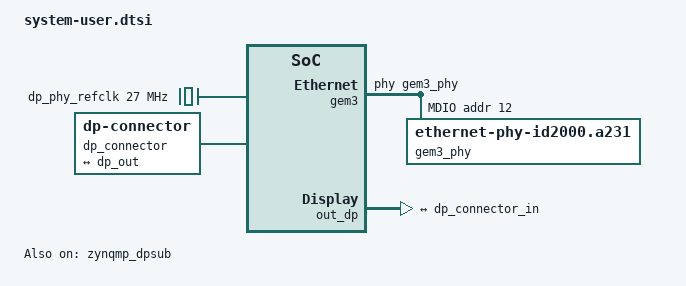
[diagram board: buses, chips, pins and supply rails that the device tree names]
// SPDX-License-Identifier: MIT
// Copyright (C) 2025-2026, Opsero Electronic Design Inc.  All rights reserved.

/*
 * Board fixups for the zcu106 host of the MIPI over Chip2Chip design, layered on
 * top of the gen-machineconf / lopper-generated Linux device tree (which already
 * carries the PS config and the PL hardware of the ZCU106 from the XSA). Scoped
 * to the Linux domain by device-tree.bbappend, and #included LAST, so every
 * property set here wins over the generated one.
 *
 * NOTE: the EDF device-tree recipe sets KERNEL_INCLUDE = "", so no
 * <dt-bindings/...> header is available here. Use numeric constants.
 *
 * What is NOT here, on purpose: the peripherals of the AUBoard 15P, reached
 * through the AXI Chip2Chip window at 0xA000_0000 - 0xA0FF_FFFF. They are not in
 * the XSA of the ZCU106, so nothing generates their nodes, and their drivers are
 * built into the kernel: described here they would probe during boot, and a
 * register access through the window while the Aurora / Chip2Chip link is down
 * never completes. They are applied at run time as a device-tree overlay once
 * the link is up (c2c-link-status, c2c-overlay). This tree is built with
 * symbols (dtc -@), so an overlay can reference its labels (&amba_pl, &gic ...).
 */

/*
 * UART (ttyPS console):
 *   The 2025.2 lopper/gen-machineconf flow emits port-number = <0> on BOTH
 *   uart0 (ff000000) and uart1 (ff010000), so the ttyPS0/ttyPS1 assignment is
 *   left to probe order. The console of this board is on psu_uart_0, so pin the
 *   port numbers (and the serial aliases) explicitly.
 *
 * Kernel command line:
 *   On the ZynqMP SD boot of the EDF flow the kernel command line is this
 *   /chosen/bootargs (boot.scr reads it from the device tree embedded in
 *   BOOT.BIN and appends "root=/dev/mmcblk0p3 ro rootwait ..."). APPEND in
 *   local.conf never reaches the kernel, so the options are set here. The first
 *   four are the ones gen-machineconf generates. clk_ignore_unused is REQUIRED:
 *   the PS fabric clocks (pl_clk*) feed the Chip2Chip / Aurora logic, which has
 *   no Linux clock consumer, and would otherwise be gated at late init.
 *   cma=1024M: the capture buffers of the two 1080p pipelines are allocated from
 *   CMA (videobuf2-dma-contig) and the kernel default is 256 MB. The remote
 *   frame buffer writers are 32-bit AXI masters, so the buffers have to be in
 *   the low 2 GB of the DDR; the default CMA area is placed below 4 GB, i.e. in
 *   the low DDR bank of this board (0x0000_0000 - 0x7FFF_FFFF).
 */
&uart0 {
	port-number = <0>;
};

&uart1 {
	port-number = <1>;
};

/ {
	aliases {
		serial0 = &uart0;
		serial1 = &uart1;
	};

	chosen {
		bootargs = "earlycon console=ttyPS0,115200 clk_ignore_unused init_fatal_sh=1 cma=1024M xlnx_mixer.connect_drm_bridge=1";
		stdout-path = "serial0:115200n8";
	};
};

/*
 * xlnx_mixer.connect_drm_bridge=1 (above) switches the video mixer to the DRM
 * bridge interface, which is how the PL mixer reaches the PS DisplayPort in
 * 2025.2: the dpsub no longer registers itself as an "xlnx_bridge", so without
 * this the mixer comes up with a CRTC and planes but NO connector, and modetest
 * reports zero connectors. The mixer is built into the kernel, so the parameter
 * can only be given on the command line. See docs/source/display.md.
 */

/*
 * Keep the PS fabric clock pl_clk0 (PL0_REF = <&zynqmp_clk 71>) running.
 *
 * pl_clk0 is the ONLY clock of the PL half of this design: the AXI-Lite side of
 * the AXI Chip2Chip core, the Aurora init_clk and the link status AXI GPIO all
 * run from it. sdtgen describes it with an "xlnx,fclk" node (clocking0), but the
 * lopper Linux-domain pass deletes every "xlnx,fclk" node, which leaves the link
 * status GPIO as the only Linux consumer of the clock. gpio-xilinx runtime-
 * suspends at the end of its probe and then calls clk_disable(); with no other
 * consumer the clock framework asks the PMU firmware to gate pl_clk0. That would
 * take the Aurora link down and make every access to the PL stall the AXI bus.
 * clk_ignore_unused does not help: it only stops the late sweep of clocks that
 * were never claimed, not an explicit disable by a driver.
 *
 * The AMD fclk driver (CONFIG_XILINX_FCLK=y in the EDF kernel) enables its clock
 * at probe and never releases it, so this node pins pl_clk0 on. The rate is left
 * as programmed by the FSBL (psu_init): 100 MHz.
 */
&amba_pl {
	c2c_fclk0: fclk0 {
		compatible = "xlnx,fclk";
		status = "okay";
		clocks = <&zynqmp_clk 71>;
	};
};

/*
 * PS GEM3 (board RJ45): the SDT flow does not describe the board-level
 * TI DP83867 PHY, so Linux falls back to the Generic PHY driver and the
 * RGMII clock delays are never programmed - the link negotiates 1G but
 * passes no packets. Values from the official zynqmp-zcu106-revA.dts
 * (PHY at MDIO address 0xc). The fixed MAC replaces the random one the
 * SDT flow leaves us with, keeping DHCP leases stable across boots.
 * U-Boot uses this same tree, so its networking is fixed as well.
 */
&gem3 {
	local-mac-address = [00 0a 35 06 21 07];
	phy-handle = <&gem3_phy>;
	mdio {
		#address-cells = <1>;
		#size-cells = <0>;
		gem3_phy: ethernet-phy@c {
			compatible = "ethernet-phy-id2000.a231";
			reg = <0xc>;
			ti,rx-internal-delay = <0x8>;
			ti,tx-internal-delay = <0xa>;
			ti,fifo-depth = <0x1>;
			ti,dp83867-rxctrl-strap-quirk;
		};
	};
};

/*
 * ============================================================================
 * DisplayPort output of the two camera streams
 * ============================================================================
 *
 * Hardware (Vivado/src/bd/bd_zynqmp.tcl, hierarchy "display_pipeline"):
 *
 *   PS DDR --> v_mix layer1/layer2 --> v_axi4s_vid_out --> PS DP live video in
 *                  ^                        ^
 *                  |                        +-- timing from v_tc
 *                  +-- pixel clock from clk_wiz (dynamically reconfigured)
 *
 * The nodes themselves (reg, interrupts, reset-gpios, the layer_N children,
 * xlnx,bpc / ppc / num-layers / dma-addr-width, the dpsub phys and its
 * ports/port@N shells) are all generated from the XSA by sdtgen + lopper. What
 * is added below is only what the generator cannot know: the properties the
 * 2025.2 drivers require but that are not in the hardware description, and the
 * OF-graph links between the mixer, the DisplayPort and the physical connector.
 *
 * NOTE: these overrides reference labels emitted by the generator
 * (display_pipeline_v_mix_0, display_pipeline_v_tc_0,
 * display_pipeline_clk_wiz_0, mixer_crtcdisplay_pipeline_v_mix_0). They follow
 * from the block-design hierarchy and instance names, but CHECK THEM against
 * the generated tree after a hardware change:
 *   grep -nE 'v_mix|v_tc|clk_wiz' Yocto/zcu106/build/conf/dts/*linux*.dts
 */

/ {
	/*
	 * DisplayPort APB clock. The dpsub needs a "dp_apb_clk"; the generated
	 * tree does not give it one, and the rate only has to match what the PS
	 * actually runs the APB at (100 MHz).
	 */
	dp_aclk: dp_aclk {
		compatible = "fixed-clock";
		#clock-cells = <0>;
		clock-frequency = <100000000>;
		clock-accuracy = <100>;
	};

	/*
	 * PS-GTR reference clock for the DisplayPort lanes. The generated pcw
	 * fragment points the DP phys at reference clock 3
	 * (xlnx,phys = <&psgtr N 6 N 3>) but declares no clocks on the psgtr
	 * node, so xpsgtr_xlate rejects reference clock 3 with "Invalid reference
	 * clock number 3" and the DP probe fails with -EINVAL. 27 MHz is what the
	 * FSBL programs the ZCU106's Si5341 to deliver on that input, and matches
	 * PSU__DP__REF_CLK_FREQ in the block design.
	 */
	dp_phy_refclk: dp_phy_refclk {
		compatible = "fixed-clock";
		#clock-cells = <0>;
		clock-frequency = <27000000>;
	};

	/*
	 * The physical DisplayPort socket. zynqmp_dpsub_parse_dt() refuses to
	 * probe ("DP output port not connected", -EINVAL) unless its output port
	 * (port@5) leads somewhere, and the connector is also what supplies EDID
	 * and hot-plug to the DRM connector the mixer builds.
	 */
	dp_connector: dp-connector {
		compatible = "dp-connector";
		type = "full-size";
		port {
			dp_connector_in: endpoint {
				remote-endpoint = <&dp_out>;
			};
		};
	};
};

&psgtr {
	clocks = <&dp_phy_refclk>;
	clock-names = "ref3";
};

/*
 * Keep the PS fabric clock pl_clk1 (PL1_REF = <&zynqmp_clk 72>) running, for the
 * same reason as pl_clk0 above: it is the AXI and datapath clock of the video
 * mixer, and no driver holds it on outside a modeset (the mixer only enables its
 * clock while a mode is active). Pinning it here keeps the mixer's AXI-Lite
 * registers readable at any time - which is what the display checks in
 * docs/source/display.md rely on.
 */
&amba_pl {
	c2c_fclk1: fclk1 {
		compatible = "xlnx,fclk";
		status = "okay";
		clocks = <&zynqmp_clk 72>;
	};
};

/*
 * DisplayPort subsystem.
 *
 * "dp_live_video_in_clk" is what tells the driver the pixel clock comes from the
 * PL: with it present, vid_clk_from_ps is false and the dpsub runs its layers in
 * LIVE mode, taking pixels from the mixer instead of the DPDMA. The driver also
 * calls clk_set_rate() on this clock for every modeset, which is what retunes
 * the PL clocking wizard to the mode's pixel clock.
 *
 * Clock indices are numeric because the EDF device-tree recipe sets
 * KERNEL_INCLUDE = "", so dt-bindings headers are not available here:
 *   16 = DP_VIDEO_REF, 17 = DP_AUDIO_REF (include/dt-bindings/clock/xlnx-zynqmp-clk.h)
 */
&zynqmp_dpsub {
	status = "okay";
	clocks = <&dp_aclk>, <&zynqmp_clk 17>, <&zynqmp_clk 16>, <&display_pipeline_clk_wiz_0 0>;
	clock-names = "dp_apb_clk", "dp_aud_clk", "dp_vtc_pixel_clk_in", "dp_live_video_in_clk";
	xlnx,bridge = <&display_pipeline_v_tc_0>;
};

/* dpsub port@0 = live video in: wire it to the mixer's CRTC endpoint */
&live_video {
	dp_encoder: endpoint {
		remote-endpoint = <&mixer_crtcdisplay_pipeline_v_mix_0>;
	};
};

/* dpsub port@5 = the DisplayPort output itself: wire it to the connector */
&out_dp {
	dp_out: endpoint {
		remote-endpoint = <&dp_connector_in>;
	};
};

&mixer_crtcdisplay_pipeline_v_mix_0 {
	remote-endpoint = <&dp_encoder>;
};

/*
 * Video mixer.
 *
 * xlnx,video-format is HARD REQUIRED by xlnx_mixer (probe fails with
 * "'xlnx,video-format' property missing"). It is the format of the mixer's
 * master layer and the driver turns it into the media bus format it offers the
 * DisplayPort bridge:
 *   0 = RGB     -> MEDIA_BUS_FMT_RGB888_1X24
 *   1 = YUV444  -> MEDIA_BUS_FMT_VUY8_1X24
 *   2 = YUV422  -> MEDIA_BUS_FMT_UYVY8_1X16
 * This design uses 0 (RGB), matching CONFIG.VIDEO_FORMAT {0} on the IP, because
 * the camera frames are packed RGB24 and RGB is in the DP's list of accepted
 * live input formats - so no colour space conversion happens anywhere.
 * It MUST agree with the IP configuration in the block design.
 *
 * xlnx,disp-bridge is deliberately NOT set. It selects the legacy xlnx_bridge
 * path, whose bus format for an RGB master is MEDIA_BUS_FMT_RBG888_1X24 - which
 * the DisplayPort does NOT accept. With connect_drm_bridge=1 the DRM bridge path
 * is used instead and the format comes from xlnx,video-format above.
 */
&display_pipeline_v_mix_0 {
	xlnx,bridge = <&display_pipeline_v_tc_0>;
	xlnx,video-format = <0>;

	/*
	 * "reset-gpios" is hard required by xlnx_mixer (devm_gpiod_get(dev,
	 * "reset") in probe; without it the probe fails with "No reset gpio info
	 * from dts for mixer"). It is GENERATED from the block design, which drives
	 * v_mix/ap_rst_n from PS EMIO GPIO bit 0 - EMIO starts at Linux gpio 78.
	 * VERIFIED on the SDT of this XSA: sdtgen emits
	 *     reset-gpios = <&gpio 78 1>;
	 * so nothing is needed here. Re-check after any change to the EMIO wiring:
	 *     grep -A3 reset-gpios Yocto/zcu106/sdt/pl.dtsi
	 *
	 * Also generated correctly and NOT overridden here (verified on the same
	 * SDT): clocks = <&zynqmp_clk 72> (pl_clk1, 250 MHz), interrupts SPI 93,
	 * xlnx,num-layers = <3>, xlnx,dma-addr-width = <32>, and
	 * xlnx,vformat = "BG24" on layer_0/1/2 - which is DRM_FORMAT_BGR888, i.e.
	 * exactly the bytes the remote pipeline writes. There is no
	 * "xlnx,logo-layer" boolean on this node, which matters: with it present
	 * xlnx_mix_dt_parse returns early and never reads xlnx,video-format.
	 */
};

/*
 * Timing controller.
 *
 * xlnx,pixels-per-clock MUST be overridden. sdtgen emits the IP's *maximum*
 * (verified on this XSA: xlnx,pixels-per-clock = <0x4>), not the configured
 * value, while this pipeline runs one pixel per clock throughout
 * (CONFIG.SAMPLES_PER_CLOCK {1} on the mixer). The bridge driver reads this
 * property to compute the timing it programs, so leaving it at 4 gives a
 * completely wrong line length.
 *
 * The compatible is narrowed to the bridge string. The generated list is
 * "xlnx,v-tc-6.2", "xlnx,bridge-v-tc-6.1"; the DRM bridge driver (xlnx_vtc)
 * binds only the second, so this is belt and braces against a future generator
 * adding "xlnx,v-tc-6.1" (which would pull in the V4L2 driver instead).
 *
 * NOTE the node is named v_tc_0@..., so the platform device is
 * "a2010000.v_tc_0", not "a2010000.v_tc".
 */
&display_pipeline_v_tc_0 {
	compatible = "xlnx,bridge-v-tc-6.1";
	xlnx,pixels-per-clock = <1>;
};

/*
 * The clocking wizard is referenced as a clock provider with one cell
 * (<&display_pipeline_clk_wiz_0 0>); #address-cells is needed for the node to
 * be well formed once it has child addressing from the generator.
 */
&display_pipeline_clk_wiz_0 {
	#address-cells = <2>;
};
